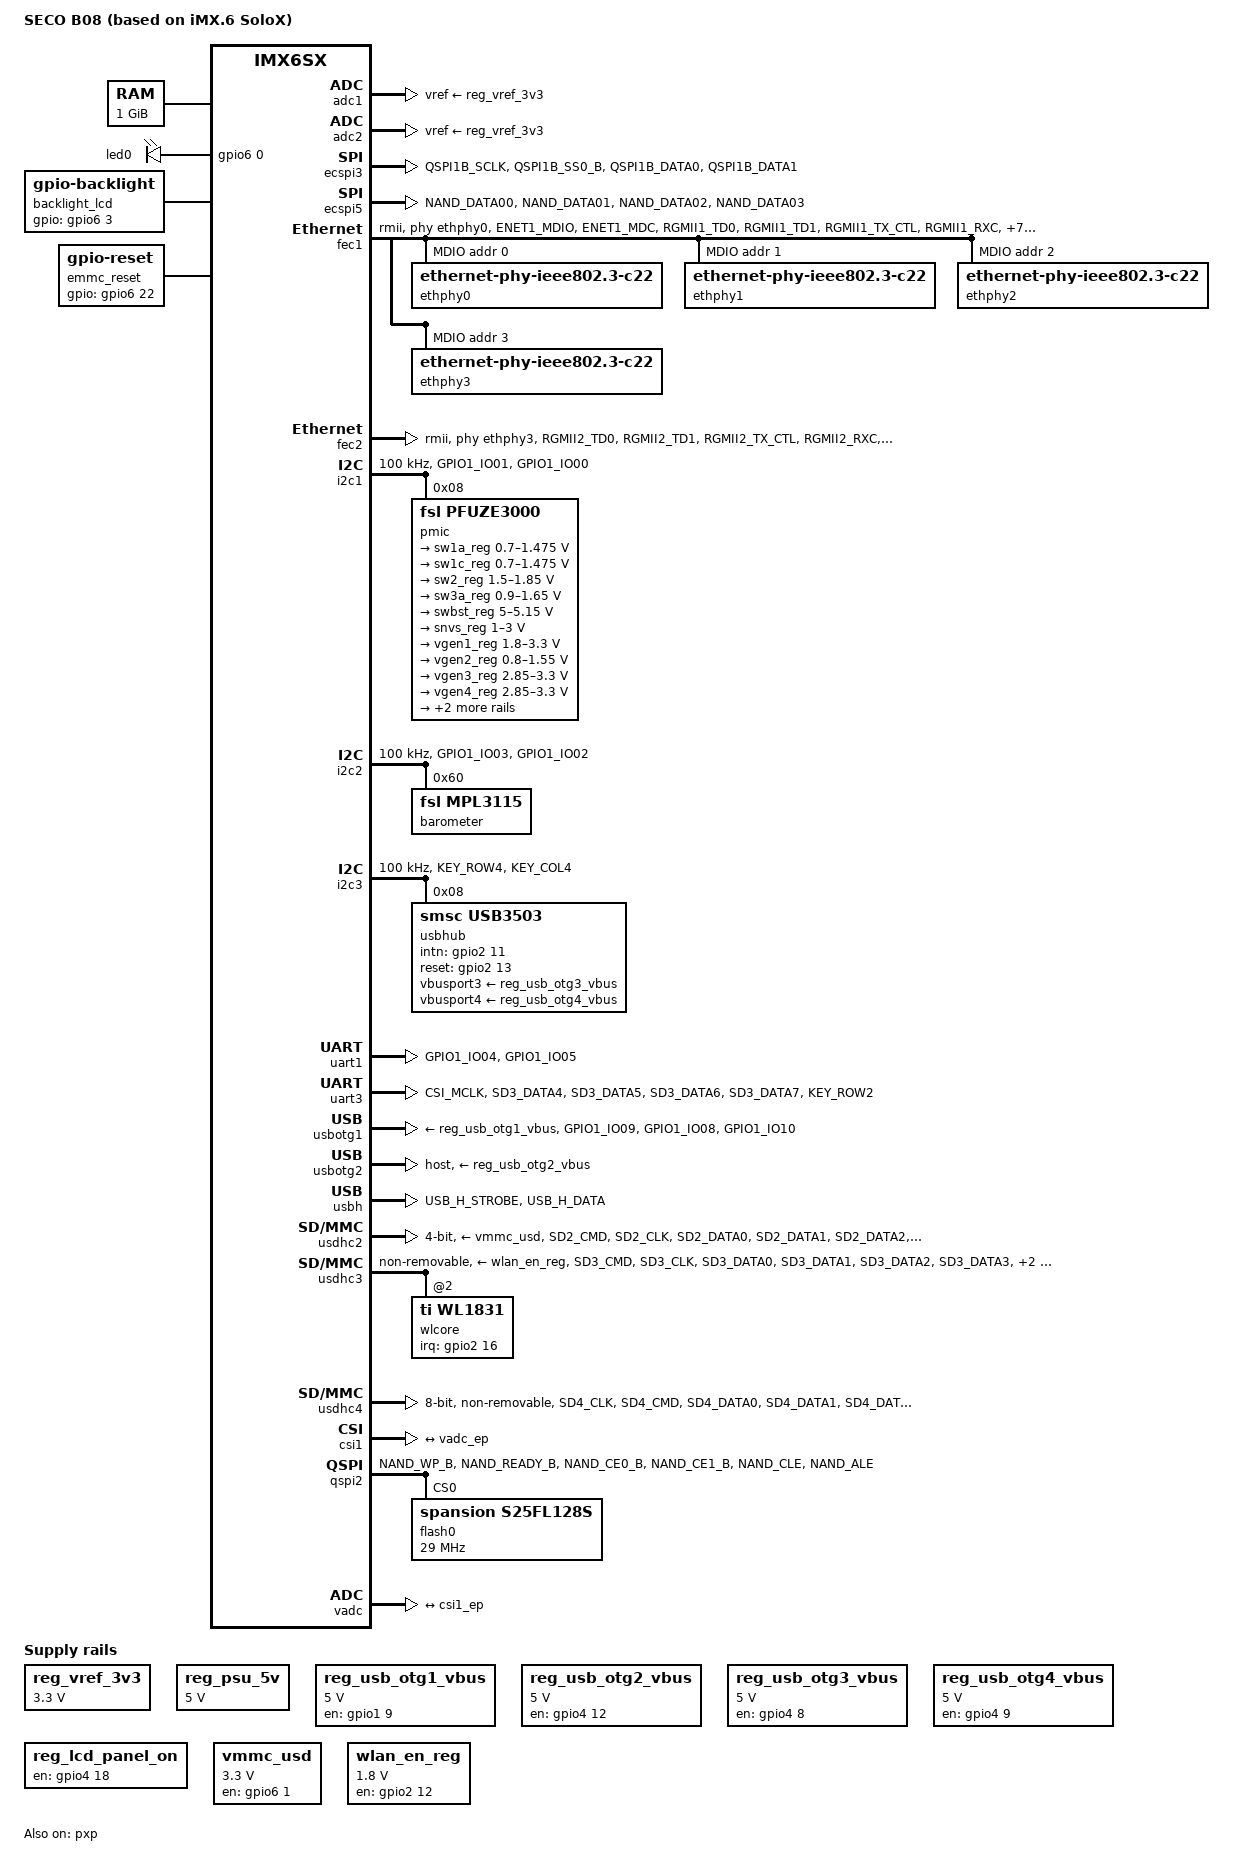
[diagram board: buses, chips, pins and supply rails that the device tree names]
/*
 * Copyright (C) 2016 Seco s.r.l.
 *
 * This program is free software; you can redistribute it and/or modify
 * it under the terms of the GNU General Public License version 2 as
 * published by the Free Software Foundation.
 */


#include <dt-bindings/gpio/gpio.h>
#include "imx6sx.dtsi"


/ {
	model = "SECO B08 (based on iMX.6 SoloX)";
	compatible = "fsl,imx6sx-seco-b08", "fsl,imx6sx-sdb", "fsl,imx6sx";

	memory {
		linux,usable-memory = <0x80000000 0x3f800000>;
		reg = <0x80000000 0x40000000>;
	};
	
	aliases {
		mmc0 = &usdhc2;
		mmc1 = &usdhc4;
		mmc2 = &usdhc3;
	};

	pxp_v4l2_out {
		compatible = "fsl,imx6sx-pxp-v4l2", "fsl,imx6sl-pxp-v4l2";
		status = "disabled";
	};

	regulators {
		compatible = "simple-bus";

		reg_vref_3v3: regulator@0 {
			compatible = "regulator-fixed";
			regulator-name = "vref-3v3";
			regulator-min-microvolt = <3300000>;
			regulator-max-microvolt = <3300000>;
		};

		reg_psu_5v: psu_5v0 {
			compatible = "regulator-fixed";
			regulator-name = "PSU-5V0";
			regulator-min-microvolt = <5000000>;
			regulator-max-microvolt = <5000000>;
			regulator-boot-on;
		};

		reg_usb_otg1_vbus: usb_otg1_vbus {
			compatible = "regulator-fixed";
			regulator-name = "usb_otg1_vbus";
			regulator-min-microvolt = <5000000>;
			regulator-max-microvolt = <5000000>;
			gpio = <&gpio1 9 GPIO_ACTIVE_HIGH>;
			enable-active-high;
		};

		reg_usb_otg2_vbus: usb_otg2_vbus {
			compatible = "regulator-fixed";
			regulator-name = "usb_otg2_vbus";
			regulator-min-microvolt = <5000000>;
			regulator-max-microvolt = <5000000>;
			gpio = <&gpio4 12 GPIO_ACTIVE_HIGH>;
			enable-active-high;
		};

		reg_usb_otg3_vbus: usb_otg3_vbus {
			compatible = "regulator-fixed";
			regulator-name = "usb_otg3_vbus";
			regulator-min-microvolt = <5000000>;
			regulator-max-microvolt = <5000000>;
			gpio = <&gpio4 8 GPIO_ACTIVE_HIGH>;
			enable-active-high;
			regulator-boot-on;
		};

		reg_usb_otg4_vbus: usb_otg4_vbus {
			compatible = "regulator-fixed";
			regulator-name = "usb_otg4_vbus";
			regulator-min-microvolt = <5000000>;
			regulator-max-microvolt = <5000000>;
			gpio = <&gpio4 9 1>;
			enable-active-high;
			regulator-boot-on;
		};

	        reg_lcd_panel_on: lcd_pon {
			compatible = "regulator-fixed";
			regulator-name = "LCD PANEL_ON";
                	gpio = <&gpio4 18 GPIO_ACTIVE_HIGH>;
			enable-active-high;
        	};

		vmmc_usd: fixedregulator@1 {
			compatible = "regulator-fixed";
			regulator-name = "vmmc_uSD";
			regulator-min-microvolt = <3300000>;
			regulator-max-microvolt = <3300000>;
			gpio = <&gpio6 1 GPIO_ACTIVE_HIGH>;
			enable-active-high;
		};

		wlan_en_reg: fixedregulator@2 {
			compatible = "regulator-fixed";
			regulator-name = "wlan-en-regulator";
			regulator-min-microvolt = <1800000>;
			regulator-max-microvolt = <1800000>;

			/* WLAN_EN GPIO for this board - KEY_COL2  Bank2, pin12 */
			gpio = <&gpio2 12 GPIO_ACTIVE_LOW>;
			/* WLAN card specific delay */
			startup-delay-us = <70000>;
			enable-active-high;
		};
	};

	leds {
		compatible = "gpio-leds";

		led0: led0 {
			label = "led0";
			gpios = <&gpio6 0 0>;
			default-state = "off";
			linux,default-trigger = "mmc0";
		};

	};

        backlight_lcd {
                compatible = "gpio-backlight";
                gpios = <&gpio6 3 GPIO_ACTIVE_HIGH>;
                default-on;
                status = "okay";
        };

// sii902x_reset: gpio-reset {
//         compatible = "gpio-reset";
//         reset-gpios = <&gpio5 0 GPIO_ACTIVE_LOW>;
//         reset-delay-us = <10000>;
//         initially-in-reset;
//         #reset-cells = <0>;
// };

	emmc_reset: gpio-reset {
		compatible = "gpio-reset";
		gpios = "eMMC RESET_N";
		gpio = <&gpio6 22 GPIO_ACTIVE_HIGH>;
		status = "okay";
	};

	kim {
	        compatible = "kim";
	        nshutdown_gpio = <49>;  // GPIO2_17 The wl8 driver expects gpio to be an integer, so gpio2_17 is (2-1)*32+17=49
	        dev_name = "/dev/ttymxc2";
	        flow_cntrl = <1>;
	        baud_rate = <921600>;
	};

	btwilink {
	        compatible = "btwilink";
	};

        sound-spdif {
                compatible = "fsl,imx-audio-spdif";
                model = "imx-spdif";
                spdif-controller = <&spdif>;
                spdif-out;
                status = "disabled";
        };
};

&iomuxc {
	pinctrl-names = "default";
	pinctrl-0 = <&pinctrl_hog>;

	imx6x-seco-b08 {
		pinctrl_hog: hoggrp {
			fsl,pins = <
				MX6SX_PAD_NAND_RE_B__GPIO4_IO_12	0x80000000 // USB_VCC_SW_J3
				MX6SX_PAD_QSPI1A_DATA0__USB_OTG2_OC	0x17059	   // USB_VCC_SW_J3_OC

				MX6SX_PAD_NAND_DATA04__GPIO4_IO_8	0x80000000 // USB_VCC_SW_J5_hub_port1
				MX6SX_PAD_NAND_DATA05__GPIO4_IO_9	0x80000000 // USB_VCC_SW_J4_hub_port2
				MX6SX_PAD_KEY_COL1__GPIO2_IO_11		0x80000000 // HUB USB INT
				MX6SX_PAD_KEY_COL3__GPIO2_IO_13		0x80000000 // HUB USB RESET
				
				MX6SX_PAD_NAND_DATA06__GPIO4_IO_10	0x80000000 // INT1_FXOS8700CQ
				MX6SX_PAD_NAND_DATA07__GPIO4_IO_11	0x80000000 // INT2_FXOS8700CQ
				MX6SX_PAD_QSPI1B_DATA2__GPIO4_IO_26 	0x80000000 // INT3_FXAS21002CQR1
				
				MX6SX_PAD_NAND_WE_B__GPIO4_IO_14	0x80000000 // ALERT#

				MX6SX_PAD_CSI_DATA02__GPIO1_IO_16       0x80000000 // GPIO 19 EXT
				MX6SX_PAD_CSI_DATA03__GPIO1_IO_17       0x80000000 // GPIO 20 EXT

				MX6SX_PAD_SD1_CLK__GPIO6_IO_0       	0x80000000 // LED

				MX6SX_PAD_CSI_PIXCLK__GPIO1_IO_24	0x80000000	// {{external-gpio-23}}	

			>;
		};
//                                MX6SX_PAD_RGMII2_RX_CTL__GPIO5_IO_16   0x8000E038
//                                MX6SX_PAD_ENET1_COL__GPIO2_IO_0         0x80000000

                pinctrl_audmux: audmuxgrp {
                        fsl,pins = <
				MX6SX_PAD_CSI_VSYNC__AUDMUX_AUD6_RXD		0x130b0		// {{external-gpio-24}}
				MX6SX_PAD_CSI_HSYNC__AUDMUX_AUD6_TXD		0x120b0		// {{external-gpio-25}}
				MX6SX_PAD_CSI_DATA00__AUDMUX_AUD6_TXC		0x130b0		// {{external-gpio-26}}
				MX6SX_PAD_CSI_DATA01__AUDMUX_AUD6_TXFS		0x130b0		// {{external-gpio-27}}
                        >;
                };

                pinctrl_flexcan1: flexcan1grp {
                        fsl,pins = <
                                MX6SX_PAD_QSPI1B_DQS__CAN1_TX           0x80000000
                                MX6SX_PAD_QSPI1A_SS1_B__CAN1_RX         0x80000000
                        >;
                };

                pinctrl_flexcan2: flexcan2grp {
                        fsl,pins = <
                                MX6SX_PAD_QSPI1B_SS1_B__CAN2_RX         0x80000000
                                MX6SX_PAD_QSPI1A_DQS__CAN2_TX           0x80000000
                        >;
                };


		pinctrl_uart1: uart1grp-1 {
			fsl,pins = <
				MX6SX_PAD_GPIO1_IO04__UART1_TX          0x1b0b1
				MX6SX_PAD_GPIO1_IO05__UART1_RX          0x1b0b1
			>;
		};

		pinctrl_uart2: uart2grp-1 {
			fsl,pins = <
				MX6SX_PAD_GPIO1_IO07__UART2_RX          0x1b0b1
				MX6SX_PAD_GPIO1_IO06__UART2_TX          0x1b0b1
			>;
		};

		pinctrl_uart6: uart6grp-1 {
			fsl,pins = <
				MX6SX_PAD_CSI_DATA07__UART6_CTS_B       0x1b0b1
				MX6SX_PAD_CSI_DATA06__UART6_RTS_B       0x1b0b1
				MX6SX_PAD_CSI_DATA05__UART6_TX          0x1b0b1
				MX6SX_PAD_CSI_DATA04__UART6_RX          0x1b0b1
			>;
		};

		pinctrl_uart3_1: uart3grp-1 {
			fsl,pins = <
				MX6SX_PAD_CSI_MCLK__OSC32K_32K_OUT	0x10059
				MX6SX_PAD_SD3_DATA4__UART3_RX		0x13059
				MX6SX_PAD_SD3_DATA5__UART3_TX		0x13059
				MX6SX_PAD_SD3_DATA6__UART3_RTS_B	0x13059
				MX6SX_PAD_SD3_DATA7__UART3_CTS_B	0x13059
				MX6SX_PAD_KEY_ROW2__GPIO2_IO_17		0x15059
			>;
		};

		pinctrl_usbotg1_1: usbotg1grp-1 {
			fsl,pins = <
				MX6SX_PAD_GPIO1_IO09__GPIO1_IO_9	0x80000000 // USB_VCC_SW_J2
				MX6SX_PAD_GPIO1_IO08__USB_OTG1_OC	0x17059  // USB_VCC_SW_J2_OC
				MX6SX_PAD_GPIO1_IO10__ANATOP_OTG1_ID	0x17059
			>;
		};

                pinctrl_ecspi3_1: ecspi3grp-1 {
                        fsl,pins = <
                                MX6SX_PAD_QSPI1B_SCLK__ECSPI3_SCLK 	0x100b1
                                MX6SX_PAD_QSPI1B_SS0_B__ECSPI3_SS0	0x100b1
                                MX6SX_PAD_QSPI1B_DATA0__ECSPI3_MOSI	0x100b1
                                MX6SX_PAD_QSPI1B_DATA1__ECSPI3_MISO	0x100b1
                        >;
                };

                pinctrl_ecspi5_1: ecspi5grp-1 {
                        fsl,pins = <
                                MX6SX_PAD_NAND_DATA00__ECSPI5_MISO 	0x100b1
                                MX6SX_PAD_NAND_DATA01__ECSPI5_MOSI	0x100b1
                                MX6SX_PAD_NAND_DATA02__ECSPI5_SCLK	0x100b1
                                MX6SX_PAD_NAND_DATA03__ECSPI5_SS0	0x100b1
                        >;
                };

		pinctrl_enet1_1: enet1grp-1 {
			fsl,pins = <
				MX6SX_PAD_ENET1_MDIO__ENET1_MDIO        0xa0b1
				MX6SX_PAD_ENET1_MDC__ENET1_MDC          0xa0b1
				MX6SX_PAD_RGMII1_TD0__ENET1_TX_DATA_0   0xa0b1
				MX6SX_PAD_RGMII1_TD1__ENET1_TX_DATA_1   0xa0b1
				MX6SX_PAD_RGMII1_TX_CTL__ENET1_TX_EN    0xa0b1
				MX6SX_PAD_RGMII1_RXC__ENET1_RX_ER   	0x3081
				MX6SX_PAD_ENET1_TX_CLK__ENET1_REF_CLK1  0x3081
				MX6SX_PAD_RGMII1_RD0__ENET1_RX_DATA_0   0x3081
				MX6SX_PAD_RGMII1_RD1__ENET1_RX_DATA_1   0x3081
                                MX6SX_PAD_ENET1_CRS__GPIO2_IO_1         0x80000000
				MX6SX_PAD_KEY_COL0__GPIO2_IO_10		0x80000000
				MX6SX_PAD_ENET2_RX_CLK__ENET2_REF_CLK_25M	0x91
			>;
		};

//				MX6SX_PAD_RGMII1_RX_CTL__ENET1_RX_EN    0x3081
		pinctrl_enet1_2: enet1grp-2 {
			fsl,pins = <
                                MX6SX_PAD_RGMII1_RX_CTL__GPIO5_IO_4   0x80000000
			>;
		};

		pinctrl_enet1_3: enet1grp-3 {
			fsl,pins = <
				MX6SX_PAD_RGMII1_RX_CTL__ENET1_RX_EN    0x3081
			>;
		};

		pinctrl_enet2_1: enet2grp-1 {
			fsl,pins = <
				MX6SX_PAD_RGMII2_TD0__ENET2_TX_DATA_0   0xa0b1
				MX6SX_PAD_RGMII2_TD1__ENET2_TX_DATA_1   0xa0b1
				MX6SX_PAD_RGMII2_TX_CTL__ENET2_TX_EN    0xa0b1
				MX6SX_PAD_RGMII2_RXC__ENET2_RX_ER   	0x3081
				MX6SX_PAD_ENET2_TX_CLK__ENET2_REF_CLK2  0x3081
				MX6SX_PAD_RGMII2_RD0__ENET2_RX_DATA_0   0x3081
				MX6SX_PAD_RGMII2_RD1__ENET2_RX_DATA_1   0x3081
                                MX6SX_PAD_ENET1_COL__GPIO2_IO_0         0x80000000
				MX6SX_PAD_KEY_ROW0__GPIO2_IO_15		0x80000000
			>;
		};
//                                MX6SX_PAD_RGMII2_RX_CTL__GPIO5_IO_16    0x80000000

		pinctrl_enet2_2: enet2grp-2 {
			fsl,pins = <
                                MX6SX_PAD_RGMII2_RX_CTL__GPIO5_IO_16    0x80000000
			>;
		};

		pinctrl_enet2_3: enet2grp-3 {
			fsl,pins = <
				MX6SX_PAD_RGMII2_RX_CTL__ENET2_RX_EN    0x3081
			>;
		};

//                                MX6SX_PAD_ENET1_COL__GPIO2_IO_0         0x80000000
//                                MX6SX_PAD_ENET1_COL__GPIO2_IO_0         0x80000000
//				MX6SX_PAD_RGMII2_RX_CTL__ENET2_RX_EN    0x3081
//				MX6SX_PAD_RGMII2_RX_CTL__ENET2_RX_EN    0x3081
//                                MX6SX_PAD_RGMII2_RX_CTL__GPIO5_IO_16   0x80000000

		pinctrl_usdhc2_1: usdhc2grp-1 {
			fsl,pins = <
				MX6SX_PAD_SD2_CMD__USDHC2_CMD		0x17059
				MX6SX_PAD_SD2_CLK__USDHC2_CLK		0x10059
				MX6SX_PAD_SD2_DATA0__USDHC2_DATA0	0x17059
				MX6SX_PAD_SD2_DATA1__USDHC2_DATA1	0x17059
				MX6SX_PAD_SD2_DATA2__USDHC2_DATA2	0x17059
				MX6SX_PAD_SD2_DATA3__USDHC2_DATA3	0x17059
				MX6SX_PAD_SD1_CMD__GPIO6_IO_1       	0x80000000 // uSD USDHC2 PWR
				MX6SX_PAD_SD1_DATA0__GPIO6_IO_2     	0x80000000 // uSD USDHC2 CD
			>;
		};

		pinctrl_usdhc3_wifi: usdhc3grp-wifi {
			fsl,pins = <
				MX6SX_PAD_SD3_CMD__USDHC3_CMD		0x17069
				MX6SX_PAD_SD3_CLK__USDHC3_CLK		0x10069
				MX6SX_PAD_SD3_DATA0__USDHC3_DATA0	0x17069
				MX6SX_PAD_SD3_DATA1__USDHC3_DATA1	0x17069
				MX6SX_PAD_SD3_DATA2__USDHC3_DATA2	0x17069
				MX6SX_PAD_SD3_DATA3__USDHC3_DATA3	0x17069
				MX6SX_PAD_KEY_COL2__GPIO2_IO_12		0x80000000
				MX6SX_PAD_KEY_ROW1__GPIO2_IO_16		0x80000000
			>;
		};

		pinctrl_usdhc4_emmc: usdhc4grp-emmc {
			fsl,pins = <
				MX6SX_PAD_SD4_CLK__USDHC4_CLK		0x17069
				MX6SX_PAD_SD4_CMD__USDHC4_CMD		0x10069
				MX6SX_PAD_SD4_DATA0__USDHC4_DATA0	0x17069
				MX6SX_PAD_SD4_DATA1__USDHC4_DATA1	0x17069
				MX6SX_PAD_SD4_DATA2__USDHC4_DATA2	0x17069
				MX6SX_PAD_SD4_DATA3__USDHC4_DATA3	0x17069
				MX6SX_PAD_SD4_DATA4__USDHC4_DATA4	0x17069
				MX6SX_PAD_SD4_DATA5__USDHC4_DATA5	0x17069
				MX6SX_PAD_SD4_DATA6__USDHC4_DATA6	0x17069
				MX6SX_PAD_SD4_DATA7__USDHC4_DATA7	0x17069
				MX6SX_PAD_SD4_RESET_B__GPIO6_IO_22	0x80000000
			>;
		};
//				MX6SX_PAD_SD4_RESET_B__USDHC4_RESET_B	0x17069

		pinctrl_i2c1_1: i2c1grp-1 {
			fsl,pins = <
				MX6SX_PAD_GPIO1_IO01__I2C1_SDA          0x4001b8b1
				MX6SX_PAD_GPIO1_IO00__I2C1_SCL          0x4001b8b1
			>;
		};

		pinctrl_i2c2_1: i2c2grp-1 {
			fsl,pins = <
				MX6SX_PAD_GPIO1_IO03__I2C2_SDA          0x4001b8b1
				MX6SX_PAD_GPIO1_IO02__I2C2_SCL          0x4001b8b1
			>;
		};

		pinctrl_i2c3_2: i2c3grp-2 {
			fsl,pins = <
				MX6SX_PAD_KEY_ROW4__I2C3_SDA            0x4001b8b1
				MX6SX_PAD_KEY_COL4__I2C3_SCL            0x4001b8b1
			>;
		};

		pinctrl_lcdif_dat_0: lcdifdatgrp {
			fsl,pins = <
				MX6SX_PAD_LCD1_DATA00__LCDIF1_DATA_0 0x4001b0b0
				MX6SX_PAD_LCD1_DATA01__LCDIF1_DATA_1 0x4001b0b0
				MX6SX_PAD_LCD1_DATA02__LCDIF1_DATA_2 0x4001b0b0
				MX6SX_PAD_LCD1_DATA03__LCDIF1_DATA_3 0x4001b0b0
				MX6SX_PAD_LCD1_DATA04__LCDIF1_DATA_4 0x4001b0b0
				MX6SX_PAD_LCD1_DATA05__LCDIF1_DATA_5 0x4001b0b0
				MX6SX_PAD_LCD1_DATA06__LCDIF1_DATA_6 0x4001b0b0
				MX6SX_PAD_LCD1_DATA07__LCDIF1_DATA_7 0x4001b0b0
				MX6SX_PAD_LCD1_DATA08__LCDIF1_DATA_8 0x4001b0b0
				MX6SX_PAD_LCD1_DATA09__LCDIF1_DATA_9 0x4001b0b0
				MX6SX_PAD_LCD1_DATA10__LCDIF1_DATA_10 0x4001b0b0
				MX6SX_PAD_LCD1_DATA11__LCDIF1_DATA_11 0x4001b0b0
				MX6SX_PAD_LCD1_DATA12__LCDIF1_DATA_12 0x4001b0b0
				MX6SX_PAD_LCD1_DATA13__LCDIF1_DATA_13 0x4001b0b0
				MX6SX_PAD_LCD1_DATA14__LCDIF1_DATA_14 0x4001b0b0
				MX6SX_PAD_LCD1_DATA15__LCDIF1_DATA_15 0x4001b0b0
				MX6SX_PAD_LCD1_DATA16__LCDIF1_DATA_16 0x4001b0b0
				MX6SX_PAD_LCD1_DATA17__LCDIF1_DATA_17 0x4001b0b0
				MX6SX_PAD_LCD1_DATA18__LCDIF1_DATA_18 0x4001b0b0
				MX6SX_PAD_LCD1_DATA19__LCDIF1_DATA_19 0x4001b0b0
				MX6SX_PAD_LCD1_DATA20__LCDIF1_DATA_20 0x4001b0b0
				MX6SX_PAD_LCD1_DATA21__LCDIF1_DATA_21 0x4001b0b0
				MX6SX_PAD_LCD1_DATA22__LCDIF1_DATA_22 0x4001b0b0
				MX6SX_PAD_LCD1_DATA23__LCDIF1_DATA_23 0x4001b0b0
			>;
		};

		pinctrl_usbh_1: usbhgrp-1 {
			fsl,pins = <
				MX6SX_PAD_USB_H_STROBE__USB_H_STROBE	0x40013030
				MX6SX_PAD_USB_H_DATA__USB_H_DATA 	0x40013030
			>;
		};

		pinctrl_usbh_2: usbhgrp-2 {
			fsl,pins = <
				MX6SX_PAD_USB_H_STROBE__USB_H_STROBE	0x40017030
			>;
		};

		pinctrl_lcdif_ctrl_0: lcdifctrlgrp {
			fsl,pins = <
				MX6SX_PAD_LCD1_CLK__LCDIF1_CLK	0x4001b0b0
				MX6SX_PAD_LCD1_ENABLE__LCDIF1_ENABLE 0x4001b0b0
				MX6SX_PAD_LCD1_VSYNC__LCDIF1_VSYNC 0x4001b080
				MX6SX_PAD_LCD1_HSYNC__LCDIF1_HSYNC 0x40018080
				MX6SX_PAD_LCD1_RESET__GPIO3_IO_27  0x80000000
			>;
		};

		pinctrl_ldb_0: ldbctrlgrp-0 {
			fsl,pins = <
				MX6SX_PAD_SD1_DATA1__GPIO6_IO_3  	0x80000000	// BL_ON
				MX6SX_PAD_QSPI1A_DATA2__GPIO4_IO_18	0x80000000	// PANEL_ON
			>;
		};

		pinctrl_rbg_lcd: rgblcdgrp-0 {
			fsl,pins = <
				MX6SX_PAD_QSPI1A_SS0_B__GPIO4_IO_22  	0x80000000	// RGB_VGH_ON
				MX6SX_PAD_QSPI1A_SCLK__GPIO4_IO_21	0x80000000	// RGB_PANEL_ON
			>;
		};

		pinctrl_qspi2_1: qspi2grp_1 {
			fsl,pins = <
				MX6SX_PAD_NAND_WP_B__QSPI2_A_DATA_0	0x70f1
				MX6SX_PAD_NAND_READY_B__QSPI2_A_DATA_1  0x70f1
				MX6SX_PAD_NAND_CE0_B__QSPI2_A_DATA_2	0x70f1
				MX6SX_PAD_NAND_CE1_B__QSPI2_A_DATA_3	0x70f1
				MX6SX_PAD_NAND_CLE__QSPI2_A_SCLK	0x70f1
				MX6SX_PAD_NAND_ALE__QSPI2_A_SS0_B	0x70f1
			>;
		};

                pinctrl_rtc_1: rtcgrp-1 {
                        fsl,pins = <
                                MX6SX_PAD_QSPI1A_DATA3__GPIO4_IO_19     0x80000000      // RTC_INT
                        >;
                };

		pinctrl_spdif_1: spdif1grp-1 {
			fsl,pins = <
				MX6SX_PAD_GPIO1_IO11__SPDIF_IN		0x1b0b0
				MX6SX_PAD_GPIO1_IO12__SPDIF_OUT		0x1b0b0
			>;
		};

		pinctrl_gt911: gt911grp {
			fsl,pins = <
				MX6SX_PAD_SD1_DATA2__GPIO6_IO_4  	0x80000000	// TOUCH_INT
				MX6SX_PAD_SD1_DATA3__GPIO6_IO_5  	0x80000000	// TOUCH_RST
			>;
		};

		pinctrl_st1232: st1232grp-0 {
			fsl,pins = <
				MX6SX_PAD_SD1_DATA2__GPIO6_IO_4  	0x80000000	// TOUCH_INT
				MX6SX_PAD_SD1_DATA3__GPIO6_IO_5  	0x80000000	// TOUCH_RST
			>;
		};
	};
};

&cpu0 {
	operating-points = <
		/* kHz    uV */
		996000  1250000
		792000  1175000
		396000  1175000
		198000	1175000
		>;
	fsl,soc-operating-points = <
		/* ARM kHz      SOC uV */
		996000	1250000
		792000	1175000
		396000	1175000
		198000	1175000
	>;
	arm-supply = <&sw1a_reg>;
	soc-supply = <&sw1a_reg>;
	fsl,arm-soc-shared = <1>;
};

&adc1 {
	vref-supply = <&reg_vref_3v3>;
	status = "okay";
};

&adc2 {
	vref-supply = <&reg_vref_3v3>;
	status = "okay";
};

&spdif {
   pinctrl-names = "default";
   pinctrl-0 = <&pinctrl_spdif_1>;
   status = "disabled";
};

&ecspi3 {
        fsl,spi-num-chipselects = <1>;
        pinctrl-names = "default";
        pinctrl-0 = <&pinctrl_ecspi3_1>;
        status = "okay"; 
};

&ecspi5 {
        fsl,spi-num-chipselects = <1>;
        pinctrl-names = "default";
        pinctrl-0 = <&pinctrl_ecspi5_1>;
        status = "okay"; 
};

&fec1 {
        pinctrl-names = "default", "phy-reset", "phy-running";
	pinctrl-0 = <&pinctrl_enet1_1>;
	pinctrl-1 = <&pinctrl_enet1_2>;
	pinctrl-2 = <&pinctrl_enet1_3>;
	phy-reset-gpios = <&gpio2 1 GPIO_ACTIVE_HIGH>;
	phy-addr01-gpios = <&gpio5 4 GPIO_ACTIVE_LOW>;
	phy-mode = "rmii";
	phy-handle = <&ethphy0>;
	fsl,num_tx_queues=<3>;
	fsl,num_rx_queues=<3>;
	status = "okay";

         mdio {
                 #address-cells = <1>;
                 #size-cells = <0>;

                 ethphy0: ethernet-phy@0 {
                        compatible = "ethernet-phy-ieee802.3-c22";
                        reg = <0>;
                };

                ethphy1: ethernet-phy@1 {
                        compatible = "ethernet-phy-ieee802.3-c22";
                        reg = <1>;
                };

                ethphy2: ethernet-phy@2 {
                        compatible = "ethernet-phy-ieee802.3-c22";
                        reg = <2>;
                };

                ethphy3: ethernet-phy@3 {
                        compatible = "ethernet-phy-ieee802.3-c22";
                        reg = <3>;
                };
        };
};

&fec2 {
        pinctrl-names = "default", "phy-reset", "phy-running";
	pinctrl-0 = <&pinctrl_enet2_1>;
	pinctrl-1 = <&pinctrl_enet2_2>;
	pinctrl-2 = <&pinctrl_enet2_3>;
	phy-reset-gpios = <&gpio2 0 GPIO_ACTIVE_HIGH>;
	phy-addr01-gpios = <&gpio5 16 GPIO_ACTIVE_HIGH>;
	phy-mode = "rmii";
	phy-handle = <&ethphy3>;
	fsl,num_tx_queues=<3>;
	fsl,num_rx_queues=<3>;
	status = "okay";
};

&flexcan1 {
        pinctrl-names = "default";
        pinctrl-0 = <&pinctrl_flexcan1>;
        status = "disabled";
};

&flexcan2 {
        pinctrl-names = "default";
        pinctrl-0 = <&pinctrl_flexcan2>;
        status = "disabled";
};

&gpc {
	/* use ldo-bypass, u-boot will check it and configure */
	fsl,ldo-bypass = <1>;
};


&i2c1 {
	clock-frequency = <100000>;
	pinctrl-names = "default";
	pinctrl-0 = <&pinctrl_i2c1_1>;
	status = "okay";

	pmic: pfuze3000@08 {
		compatible = "fsl,pfuze3000";
		reg = <0x08>;

		regulators {
			sw1a_reg: sw1a {
				regulator-min-microvolt = <700000>;
				regulator-max-microvolt = <1475000>;
				regulator-boot-on;
				regulator-always-on;
				regulator-ramp-delay = <6250>;
			};

			/* use sw1c_reg to align with pfuze100/pfuze200 */
			sw1c_reg: sw1b {
				regulator-min-microvolt = <700000>;
				regulator-max-microvolt = <1475000>;
				regulator-boot-on;
				regulator-always-on;
				regulator-ramp-delay = <6250>;
			};

			sw2_reg: sw2 {
				regulator-min-microvolt = <1500000>;
				regulator-max-microvolt = <1850000>;
				regulator-boot-on;
				regulator-always-on;
			};

			sw3a_reg: sw3 {
				regulator-min-microvolt = <900000>;
				regulator-max-microvolt = <1650000>;
				regulator-boot-on;
				regulator-always-on;
			};

			swbst_reg: swbst {
				regulator-min-microvolt = <5000000>;
				regulator-max-microvolt = <5150000>;
			};

			snvs_reg: vsnvs {
				regulator-min-microvolt = <1000000>;
				regulator-max-microvolt = <3000000>;
				regulator-boot-on;
				regulator-always-on;
			};

			vref_reg: vrefddr {
				regulator-boot-on;
				regulator-always-on;
			};

			vgen1_reg: vldo1 {
				regulator-min-microvolt = <1800000>;
				regulator-max-microvolt = <3300000>;
				regulator-always-on;
			};

			vgen2_reg: vldo2 {
				regulator-min-microvolt = <800000>;
				regulator-max-microvolt = <1550000>;
				regulator-always-on;
			};

			vgen3_reg: vccsd {
				regulator-min-microvolt = <2850000>;
				regulator-max-microvolt = <3300000>;
				regulator-always-on;
			};

			vgen4_reg: v33 {
				regulator-min-microvolt = <2850000>;
				regulator-max-microvolt = <3300000>;
				regulator-always-on;
			};

			vgen5_reg: vldo3 {
				regulator-min-microvolt = <1800000>;
				regulator-max-microvolt = <3300000>;
				regulator-always-on;
			};

			vgen6_reg: vldo4 {
				regulator-min-microvolt = <1800000>;
				regulator-max-microvolt = <3300000>;
				regulator-always-on;
			};
		};
	};
};

&i2c2 {
	clock-frequency = <100000>;
	pinctrl-names = "default";
	pinctrl-0 = <&pinctrl_i2c2_1>;
	status = "okay";

	barometer: mpl3115@60 {
		compatible = "fsl,mpl3115";
		reg = <0x60>;
	};
};


&i2c3 {
	clock-frequency = <100000>;
	pinctrl-names = "default";
	pinctrl-0 = <&pinctrl_i2c3_2>;
	status = "okay";

        usbhub: usb3503@08 {
                compatible = "smsc,usb3503";
                reg = <0x08>;
                disabled-ports = <>;
	        vbusport3-supply = <&reg_usb_otg3_vbus>;
	        vbusport4-supply = <&reg_usb_otg4_vbus>;
                intn-gpios = <&gpio2 11 GPIO_ACTIVE_HIGH>;
                reset-gpios = <&gpio2 13 GPIO_ACTIVE_HIGH>;
                initial-mode = <1>;
        };
};

// &i2c4 {
// 	clock-frequency = <100000>;
// 	pinctrl-names = "default";
// 	pinctrl-0 = <&pinctrl_i2c4_1>;
// 
// 	accelerometer: fxos8700@1e {
// 		compatible = "fsl,fxos8700";
// 		reg = <0x1e>;
// 	};
// 
// 	gyroscope: fxas2100x@20 {
// 		compatible = "fsl,fxas2100x";
// 		reg = <0x20>;
// 	};
// };


&uart1 {
	pinctrl-names = "default";
	pinctrl-0 = <&pinctrl_uart1>;
	status = "okay";
};

&uart2 {
	pinctrl-names = "default";
	pinctrl-0 = <&pinctrl_uart2>;
	status = "disabled";
};

&uart6 {
	pinctrl-names = "default";
	pinctrl-0 = <&pinctrl_uart6>;
	fsl,uart-has-rtscts;
	status = "disabled";
};

&uart3 { /* for bluetooth */
	pinctrl-names = "default";
	pinctrl-0 = <&pinctrl_uart3_1>;
	fsl,uart-has-rtscts;
	status = "okay";
};

&usbotg1 {
	pinctrl-names = "default";
	pinctrl-0 = <&pinctrl_usbotg1_1>;
	vbus-supply = <&reg_usb_otg1_vbus>;
	imx6-usb-charger-detection;
	status = "okay";
};

&usbotg2 {
	vbus-supply = <&reg_usb_otg2_vbus>;
	dr_mode = "host";
	status = "okay";
};

&usbh {
	pinctrl-names = "idle", "active";
	pinctrl-0 = <&pinctrl_usbh_1>;
	pinctrl-1 = <&pinctrl_usbh_2>;
	osc-clkgate-delay = <0x3>;
	status = "okay";
};

&usdhc2 {
	pinctrl-names = "default";
	pinctrl-0 = <&pinctrl_usdhc2_1>;
	no-1-8-v;
	vmmc-supply = <&vmmc_usd>;
	bus-width = <4>;
	cd-gpios = <&gpio6 2 GPIO_ACTIVE_LOW>;
	keep-power-in-suspend;
	enable-sdio-wakeup;
	status = "okay";
};

&usdhc3 { /* WiFi */
	pinctrl-names = "default";
	pinctrl-0 = <&pinctrl_usdhc3_wifi>;
	enable-sdio-wakeup;
	non-removable;	// non-removable is not a variable, the fact it is listed is all that is used by driver
	vmmc-supply = <&wlan_en_reg>;
	cap-power-off-card;
	keep-power-in-suspend;
	status = "okay";

	#address-cells = <1>;
	#size-cells = <0>;
	wlcore: wlcore@0 {
		compatible = "ti,wl1831";
		reg = <2>;
		interrupt-parent = <&gpio2>;
		interrupts = <16 IRQ_TYPE_EDGE_RISING>;
		ref-clock-frequency = <38400000>;
		tcxo-clock-frequency = <26000000>;
	};
};

&usdhc4 {
	pinctrl-names = "default";
	pinctrl-0 = <&pinctrl_usdhc4_emmc>;
	no-1-8-v;
	resets = <&emmc_reset>;
	bus-width = <8>;
        non-removable;
        keep-power-in-suspend;
	status = "okay";
};

&pxp {
	status = "okay";
};

&csi1 {
	status = "okay";
	port {
		csi1_ep: endpoint {
			remote-endpoint = <&vadc_ep>;
		};
	};
};

&qspi2 {
	pinctrl-names = "default";
	pinctrl-0 = <&pinctrl_qspi2_1>;
	ddrsmp=<2>;
	status = "okay";

        flash0: s25fl128s@0 {
                #address-cells = <1>;
                #size-cells = <1>;
                compatible = "spansion,s25fl128s";
                spi-max-frequency = <29000000>;
                reg = <0>;
        };
};

&vadc {
	vadc_in = <0>;
	csi_id = <0>;
	status = "okay";
	port {
		vadc_ep: endpoint {
			remote-endpoint = <&csi1_ep>;
		};
	};
};

// #include "imx6sx-udoo-neo-externalpins.dtsi"
